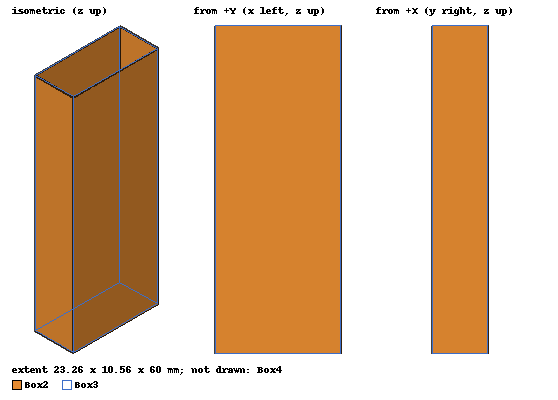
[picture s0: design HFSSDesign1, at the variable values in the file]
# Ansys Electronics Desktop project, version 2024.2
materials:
  vacuum: permittivity=1
  copper: permeability=0.999991 conductivity=58000000
  air: permittivity=1.0006 permeability=1.0000004

design HFSSDesign1 (HFSS, HFSS Modal Network, model units mm)
options: Allow_Material_Override
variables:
  a = 22.86mm
  b = 10.16mm
  L = 60mm
  th = 0.2mm
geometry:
  Box1 = box(corner=(-a/2, -b/2, 0mm), size=(a, b, L))
  Box2 [copper] = box(corner=(-a/2 -th, -b/2-th, 0mm), size=(a+2*th, b+2*th, L))
  Box2.subtract(Box1)
  Box3 [air] = box(corner=(-a/2, -b/2, 0mm), size=(a, b, L))
  Box4 [air] = box(corner=(-a/2, -b/2, 0mm), size=(a, b, L))
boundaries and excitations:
  Rad1: Radiation Objects=Box4
  1: Wave Port Faces=Box4.face(-z) WavePortType=Default NumModes=4 Modes{Mode1{IntLine{(0, 0, 0) -> (0, -5.08, 0)} CharImp=Zpi} Mode2{CharImp=Zpi} Mode3{CharImp=Zpi} Mode4{CharImp=Zpi}}
  2: Wave Port Faces=Box4.face(+z) WavePortType=Default NumModes=4 Modes{Mode1{IntLine{(0, 0, 60) -> (0, 5.08, 60)} CharImp=Zpi} Mode2{CharImp=Zpi} Mode3{CharImp=Zpi} Mode4{CharImp=Zpi}}
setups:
  Setup1: HfssDriven Frequency=10GHz MaxDeltaS=0.02 MaximumPasses=10 MinimumPasses=1 MinimumConvergedPasses=1 PercentRefinement=30 BasisOrder=1 PortAccuracy=2 DrivenSolverType="Direct Solver"
    sweep Sweep: 5GHz to 17GHz, 401 points; Type=Interpolating InterpTolerance=0.5 InterpMaxSolns=250 InterpUsePortImped=false PassivityErrorTolerance=0.0001
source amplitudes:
  1:1: 1W 0deg
  1:2, 1:3, 1:4, 2:1..2:4: 0W 0deg
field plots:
  Mag_E1: E Field in Box3 on Setup1 : LastAdaptive at Freq=10GHz Phase=0deg
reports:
  Gamma Plot 1: im(Gamma(1:1)) vs Freq on Setup1 : Sweep
  S Parameter Plot 1: dB(S(1:1,1:1)), dB(S(1:2,1:1)), dB(S(1:3,1:1)) vs Freq on Setup1 : Sweep
